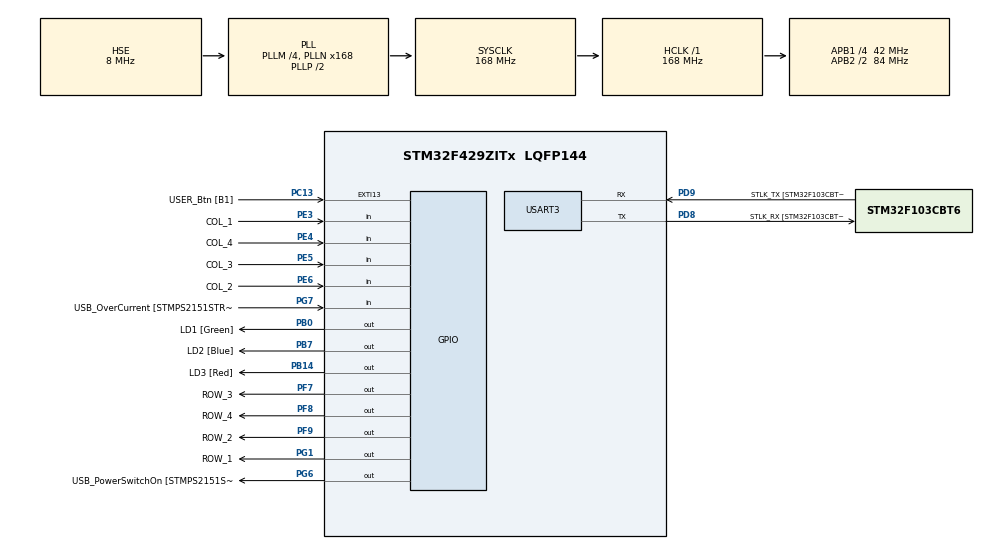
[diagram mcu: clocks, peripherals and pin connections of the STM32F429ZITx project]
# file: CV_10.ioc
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Mcu.Family=STM32F4
Mcu.Name=STM32F429ZITx
Mcu.Package=LQFP144
NVIC.PriorityGroup=NVIC_PRIORITYGROUP_4
NVIC.TIM3_IRQn=true\:0\:0\:false\:false\:true\:true\:true\:true
PA1.GPIO_Label=RMII_REF_CLK [LAN8742A-CZ-TR_REFCLK0]
PA1.Signal=ETH_REF_CLK
PA10.GPIO_Label=USB_ID
PA10.Signal=USB_OTG_FS_ID
PA11.GPIO_Label=USB_DM
PA11.Signal=USB_OTG_FS_DM
PA12.GPIO_Label=USB_DP
PA12.Signal=USB_OTG_FS_DP
PA13.GPIO_Label=TMS
PA13.Mode=Serial_Wire
PA13.Signal=SYS_JTMS-SWDIO
PA14.GPIO_Label=TCK
PA14.Mode=Serial_Wire
PA14.Signal=SYS_JTCK-SWCLK
PA2.GPIO_Label=RMII_MDIO [LAN8742A-CZ-TR_MDIO]
PA2.Signal=ETH_MDIO
PA7.GPIO_Label=RMII_CRS_DV [LAN8742A-CZ-TR_CRS_DV]
PA7.Signal=ETH_CRS_DV
PA8.GPIO_Label=USB_SOF [TP1]
PA8.Signal=USB_OTG_FS_SOF
PA9.GPIO_Label=USB_VBUS
PA9.Signal=USB_OTG_FS_VBUS
PB0.GPIO_Label=LD1 [Green]
PB0.Signal=GPIO_Output
PB13.GPIO_Label=RMII_TXD1 [LAN8742A-CZ-TR_TXD1]
PB13.Signal=ETH_TXD1
PB14.GPIO_Label=LD3 [Red]
PB14.Signal=GPIO_Output
PB7.GPIO_Label=LD2 [Blue]
PB7.Signal=GPIO_Output
PC1.GPIO_Label=RMII_MDC [LAN8742A-CZ-TR_MDC]
PC1.Signal=ETH_MDC
PC13.GPIO_Label=USER_Btn [B1]
PC13.Signal=GPXTI13
PC14/OSC32_IN.Mode=LSE-External-Oscillator
PC14/OSC32_IN.Signal=RCC_OSC32_IN
PC15/OSC32_OUT.Mode=LSE-External-Oscillator
PC15/OSC32_OUT.Signal=RCC_OSC32_OUT
PC4.GPIO_Label=RMII_RXD0 [LAN8742A-CZ-TR_RXD0]
PC4.Signal=ETH_RXD0
PC5.GPIO_Label=RMII_RXD1 [LAN8742A-CZ-TR_RXD1]
PC5.Signal=ETH_RXD1
PD8.GPIO_Label=STLK_RX [STM32F103CBT6_PA3]
PD8.Mode=Asynchronous
PD8.Signal=USART3_TX
PD9.GPIO_Label=STLK_TX [STM32F103CBT6_PA2]
PD9.Mode=Asynchronous
PD9.Signal=USART3_RX
PE3.GPIO_Label=COL_1
PE3.GPIO_PuPd=GPIO_PULLUP
PE3.Signal=GPIO_Input
PE4.GPIO_Label=COL_4
PE4.GPIO_PuPd=GPIO_PULLUP
PE4.Signal=GPIO_Input
PE5.GPIO_Label=COL_3
PE5.GPIO_PuPd=GPIO_PULLUP
PE5.Signal=GPIO_Input
PE6.GPIO_Label=COL_2
PE6.GPIO_PuPd=GPIO_PULLUP
PE6.Signal=GPIO_Input
PF7.GPIO_Label=ROW_3
PF7.GPIO_ModeDefaultOutputPP=GPIO_MODE_OUTPUT_OD
PF7.GPIO_PuPd=GPIO_NOPULL
PF7.Signal=GPIO_Output
PF8.GPIO_Label=ROW_4
PF8.GPIO_ModeDefaultOutputPP=GPIO_MODE_OUTPUT_OD
PF8.GPIO_PuPd=GPIO_NOPULL
PF8.Signal=GPIO_Output
PF9.GPIO_Label=ROW_2
PF9.GPIO_ModeDefaultOutputPP=GPIO_MODE_OUTPUT_OD
PF9.GPIO_PuPd=GPIO_NOPULL
PF9.Signal=GPIO_Output
PG1.GPIO_Label=ROW_1
PG1.GPIO_ModeDefaultOutputPP=GPIO_MODE_OUTPUT_OD
PG1.GPIO_PuPd=GPIO_NOPULL
PG1.Signal=GPIO_Output
PG11.GPIO_Label=RMII_TX_EN [LAN8742A-CZ-TR_TXEN]
PG11.Signal=ETH_TX_EN
PG13.GPIO_Label=RMII_TXD0 [LAN8742A-CZ-TR_TXD0]
PG13.Signal=ETH_TXD0
PG6.GPIO_Label=USB_PowerSwitchOn [STMPS2151STR_EN]
PG6.Signal=GPIO_Output
PG7.GPIO_Label=USB_OverCurrent [STMPS2151STR_FAULT]
PG7.Signal=GPIO_Input
PH0/OSC_IN.GPIO_Label=MCO [STM32F103CBT6_PA8]
PH0/OSC_IN.Mode=HSE-External-Clock-Source
PH0/OSC_IN.Signal=RCC_OSC_IN
PH1/OSC_OUT.Mode=HSE-External-Clock-Source
PH1/OSC_OUT.Signal=RCC_OSC_OUT
ProjectManager.HeapSize=0x200
ProjectManager.StackSize=0x400
ProjectManager.TargetToolchain=STM32CubeIDE
RCC.48MHZClocksFreq_Value=48000000
RCC.AHBFreq_Value=168000000
RCC.APB1CLKDivider=RCC_HCLK_DIV4
RCC.APB1Freq_Value=42000000
RCC.APB1TimFreq_Value=84000000
RCC.APB2CLKDivider=RCC_HCLK_DIV2
RCC.APB2Freq_Value=84000000
RCC.APB2TimCLKDivider=2
RCC.APB2TimFreq_Value=168000000
RCC.CortexFreq_Value=168000000
RCC.HCLKFreq_Value=168000000
RCC.HSE_VALUE=8000000
RCC.HSI_VALUE=16000000
RCC.PLLM=4
RCC.PLLMUL=RCC_PLL_MUL9
RCC.PLLN=168
RCC.PLLQ=7
RCC.PLLSourceVirtual=RCC_PLLSOURCE_HSE
RCC.PRESCALERUSB=RCC_USBCLKSOURCE_PLL_DIV1_5
RCC.SYSCLKFreq_VALUE=168000000
RCC.SYSCLKSource=RCC_SYSCLKSOURCE_PLLCLK
RCC.SYSCLKSourceVirtual=RCC_SYSCLKSOURCE_PLLCLK
RCC.USBFreq_Value=48000000
RCC.VCOOutputFreq_Value=336000000
TIM3.AutoReloadPreload=TIM_AUTORELOAD_PRELOAD_ENABLE
TIM3.Period=99
TIM3.Prescaler=8399
USART3.VirtualMode=VM_ASYNC
VP_TIM3_VS_ClockSourceINT.Mode=Internal
board=NUCLEO-F429ZI

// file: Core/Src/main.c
/* USER CODE BEGIN Header */
/**
  ******************************************************************************
  * @file           : main.c
  * @brief          : Main program body
  ******************************************************************************
  * @attention
  *
  * Copyright (c) 2022 STMicroelectronics.
  * All rights reserved.
  *
  * This software is licensed under terms that can be found in the LICENSE file
  * in the root directory of this software component.
  * If no LICENSE file comes with this software, it is provided AS-IS.
  *
  ******************************************************************************
  */
/* USER CODE END Header */
#include "main.h"

/* USER CODE BEGIN Includes */
#include <stdio.h>
/* USER CODE END Includes */

TIM_HandleTypeDef htim3;

UART_HandleTypeDef huart3;

/* USER CODE BEGIN PV */

static volatile int8_t key = - 1;
const int password[5] =  { 7, 9, 3, 2, 12 };

/* USER CODE END PV */

void SystemClock_Config(void);
static void MX_GPIO_Init(void);
static void MX_USART3_UART_Init(void);
static void MX_TIM3_Init(void);

/* USER CODE BEGIN 0 */
int __io_putchar(int ch)
{
	ITM_SendChar(ch);
	return 0;
}

void HAL_TIM_PeriodElapsedCallback(TIM_HandleTypeDef *htim)
{
	static int row = 0;
	static const int keyboard[4][4] = {
			{ 1, 2, 3, 21 },
			{ 4, 5, 6, 22 },
			{ 7, 8, 9, 23 },
			{ 11, 0, 12, 24 },
	};
	if (key == -1) {
		if (HAL_GPIO_ReadPin(COL_1_GPIO_Port, COL_1_Pin) == GPIO_PIN_RESET) key = keyboard[row][0];
		if (HAL_GPIO_ReadPin(COL_2_GPIO_Port, COL_2_Pin) == GPIO_PIN_RESET) key = keyboard[row][1];
		if (HAL_GPIO_ReadPin(COL_3_GPIO_Port, COL_3_Pin) == GPIO_PIN_RESET) key = keyboard[row][2];
		if (HAL_GPIO_ReadPin(COL_4_GPIO_Port, COL_4_Pin) == GPIO_PIN_RESET) key = keyboard[row][3];

	}
	HAL_GPIO_WritePin(ROW_1_GPIO_Port, ROW_1_Pin, GPIO_PIN_SET);
	HAL_GPIO_WritePin(ROW_2_GPIO_Port, ROW_2_Pin, GPIO_PIN_SET);
	HAL_GPIO_WritePin(ROW_3_GPIO_Port, ROW_3_Pin, GPIO_PIN_SET);
	HAL_GPIO_WritePin(ROW_4_GPIO_Port, ROW_4_Pin, GPIO_PIN_SET);

	switch (row) {
	case 0:
		row = 1;
		HAL_GPIO_WritePin(ROW_2_GPIO_Port, ROW_2_Pin, GPIO_PIN_RESET);
		break;
	case 1:
		row = 2;
		HAL_GPIO_WritePin(ROW_3_GPIO_Port, ROW_3_Pin, GPIO_PIN_RESET);
		break;
	case 2:
		row = 3;
		HAL_GPIO_WritePin(ROW_4_GPIO_Port, ROW_4_Pin, GPIO_PIN_RESET);
		break;
	case 3:
		row = 0;
		HAL_GPIO_WritePin(ROW_1_GPIO_Port, ROW_1_Pin, GPIO_PIN_RESET);
		break;
	}
}
/* USER CODE END 0 */

int main(void)
{

  /* MCU Configuration--------------------------------------------------------*/

  /* Reset of all peripherals, Initializes the Flash interface and the Systick. */
  HAL_Init();

  /* Configure the system clock */
  SystemClock_Config();

  /* Initialize all configured peripherals */
  MX_GPIO_Init();
  MX_USART3_UART_Init();
  MX_TIM3_Init();
  /* USER CODE BEGIN 2 */

  HAL_TIM_Base_Start_IT(&htim3);

  /* USER CODE END 2 */

  /* Infinite loop */
  while (1)
  {

    /* USER CODE BEGIN 3 */
	  static int16_t index = 0;
	  static int32_t timer = 0;
	  static int8_t correct = 0;

	  if (HAL_GetTick() > timer + 3000 && index > 0) {
		  index = 0;
		  correct = 0;
		  timer = HAL_GetTick();
		  printf("cas vyprsel\n");
	  }

	  if (key != -1){
		  timer = HAL_GetTick();

		  if (key == password[index]) {
			  correct++;
		  }

		  if (index < 5){
			  index++;
		  } else {
			  index = 0;
			  printf("vynulovano\n");
		  }

		  printf("stisktnuto: %d -> na indexu: %d \n", key, index);
		  HAL_Delay(200);
		  key = -1;

		  if (correct == 5 && index == 5){
			  printf("Correct\n");
			  HAL_GPIO_WritePin(LD1_GPIO_Port, LD1_Pin, GPIO_PIN_SET);
			  HAL_Delay(3000);
			  HAL_GPIO_WritePin(LD1_GPIO_Port, LD1_Pin, GPIO_PIN_RESET);
			  index = 0;
			  correct = 0;

		  } else if (correct != 5 && index == 5){
			  printf("Wrong\n");
			  for (int16_t i; i < 6; i++){
				  HAL_GPIO_TogglePin(LD1_GPIO_Port, LD1_Pin);
				  HAL_Delay(200);
			  }
			  index = 0;
			  correct = 0;

		  }
	  }

  }
  /* USER CODE END 3 */
}

void SystemClock_Config(void)
{
  RCC_OscInitTypeDef RCC_OscInitStruct = {0};
  RCC_ClkInitTypeDef RCC_ClkInitStruct = {0};

  /** Configure the main internal regulator output voltage
  */
  __HAL_RCC_PWR_CLK_ENABLE();
  __HAL_PWR_VOLTAGESCALING_CONFIG(PWR_REGULATOR_VOLTAGE_SCALE1);

  /** Initializes the RCC Oscillators according to the specified parameters
  * in the RCC_OscInitTypeDef structure.
  */
  RCC_OscInitStruct.OscillatorType = RCC_OSCILLATORTYPE_HSE;
  RCC_OscInitStruct.HSEState = RCC_HSE_BYPASS;
  RCC_OscInitStruct.PLL.PLLState = RCC_PLL_ON;
  RCC_OscInitStruct.PLL.PLLSource = RCC_PLLSOURCE_HSE;
  RCC_OscInitStruct.PLL.PLLM = 4;
  RCC_OscInitStruct.PLL.PLLN = 168;
  RCC_OscInitStruct.PLL.PLLP = RCC_PLLP_DIV2;
  RCC_OscInitStruct.PLL.PLLQ = 7;
  if (HAL_RCC_OscConfig(&RCC_OscInitStruct) != HAL_OK)
  {
    Error_Handler();
  }

  /** Initializes the CPU, AHB and APB buses clocks
  */
  RCC_ClkInitStruct.ClockType = RCC_CLOCKTYPE_HCLK|RCC_CLOCKTYPE_SYSCLK
                              |RCC_CLOCKTYPE_PCLK1|RCC_CLOCKTYPE_PCLK2;
  RCC_ClkInitStruct.SYSCLKSource = RCC_SYSCLKSOURCE_PLLCLK;
  RCC_ClkInitStruct.AHBCLKDivider = RCC_SYSCLK_DIV1;
  RCC_ClkInitStruct.APB1CLKDivider = RCC_HCLK_DIV4;
  RCC_ClkInitStruct.APB2CLKDivider = RCC_HCLK_DIV2;

  if (HAL_RCC_ClockConfig(&RCC_ClkInitStruct, FLASH_LATENCY_5) != HAL_OK)
  {
    Error_Handler();
  }
}

static void MX_TIM3_Init(void)
{

  TIM_ClockConfigTypeDef sClockSourceConfig = {0};
  TIM_MasterConfigTypeDef sMasterConfig = {0};

  htim3.Instance = TIM3;
  htim3.Init.Prescaler = 8399;
  htim3.Init.CounterMode = TIM_COUNTERMODE_UP;
  htim3.Init.Period = 99;
  htim3.Init.ClockDivision = TIM_CLOCKDIVISION_DIV1;
  htim3.Init.AutoReloadPreload = TIM_AUTORELOAD_PRELOAD_ENABLE;
  if (HAL_TIM_Base_Init(&htim3) != HAL_OK)
  {
    Error_Handler();
  }
  sClockSourceConfig.ClockSource = TIM_CLOCKSOURCE_INTERNAL;
  if (HAL_TIM_ConfigClockSource(&htim3, &sClockSourceConfig) != HAL_OK)
  {
    Error_Handler();
  }
  sMasterConfig.MasterOutputTrigger = TIM_TRGO_RESET;
  sMasterConfig.MasterSlaveMode = TIM_MASTERSLAVEMODE_DISABLE;
  if (HAL_TIMEx_MasterConfigSynchronization(&htim3, &sMasterConfig) != HAL_OK)
  {
    Error_Handler();
  }

}

static void MX_USART3_UART_Init(void)
{

  huart3.Instance = USART3;
  huart3.Init.BaudRate = 115200;
  huart3.Init.WordLength = UART_WORDLENGTH_8B;
  huart3.Init.StopBits = UART_STOPBITS_1;
  huart3.Init.Parity = UART_PARITY_NONE;
  huart3.Init.Mode = UART_MODE_TX_RX;
  huart3.Init.HwFlowCtl = UART_HWCONTROL_NONE;
  huart3.Init.OverSampling = UART_OVERSAMPLING_16;
  if (HAL_UART_Init(&huart3) != HAL_OK)
  {
    Error_Handler();
  }

}

static void MX_GPIO_Init(void)
{
  GPIO_InitTypeDef GPIO_InitStruct = {0};

  /* GPIO Ports Clock Enable */
  __HAL_RCC_GPIOE_CLK_ENABLE();
  __HAL_RCC_GPIOC_CLK_ENABLE();
  __HAL_RCC_GPIOF_CLK_ENABLE();
  __HAL_RCC_GPIOH_CLK_ENABLE();
  __HAL_RCC_GPIOA_CLK_ENABLE();
  __HAL_RCC_GPIOB_CLK_ENABLE();
  __HAL_RCC_GPIOG_CLK_ENABLE();
  __HAL_RCC_GPIOD_CLK_ENABLE();

  /*Configure GPIO pin Output Level */
  HAL_GPIO_WritePin(GPIOF, ROW_3_Pin|ROW_4_Pin|ROW_2_Pin, GPIO_PIN_RESET);

  /*Configure GPIO pin Output Level */
  HAL_GPIO_WritePin(GPIOB, LD1_Pin|LD3_Pin|LD2_Pin, GPIO_PIN_RESET);

  /*Configure GPIO pin Output Level */
  HAL_GPIO_WritePin(GPIOG, ROW_1_Pin|USB_PowerSwitchOn_Pin, GPIO_PIN_RESET);

  /*Configure GPIO pins : COL_1_Pin COL_4_Pin COL_3_Pin COL_2_Pin */
  GPIO_InitStruct.Pin = COL_1_Pin|COL_4_Pin|COL_3_Pin|COL_2_Pin;
  GPIO_InitStruct.Mode = GPIO_MODE_INPUT;
  GPIO_InitStruct.Pull = GPIO_PULLUP;
  HAL_GPIO_Init(GPIOE, &GPIO_InitStruct);

  /*Configure GPIO pin : USER_Btn_Pin */
  GPIO_InitStruct.Pin = USER_Btn_Pin;
  GPIO_InitStruct.Mode = GPIO_MODE_IT_RISING;
  GPIO_InitStruct.Pull = GPIO_NOPULL;
  HAL_GPIO_Init(USER_Btn_GPIO_Port, &GPIO_InitStruct);

  /*Configure GPIO pins : ROW_3_Pin ROW_4_Pin ROW_2_Pin */
  GPIO_InitStruct.Pin = ROW_3_Pin|ROW_4_Pin|ROW_2_Pin;
  GPIO_InitStruct.Mode = GPIO_MODE_OUTPUT_OD;
  GPIO_InitStruct.Pull = GPIO_NOPULL;
  GPIO_InitStruct.Speed = GPIO_SPEED_FREQ_LOW;
  HAL_GPIO_Init(GPIOF, &GPIO_InitStruct);

  /*Configure GPIO pins : RMII_MDC_Pin RMII_RXD0_Pin RMII_RXD1_Pin */
  GPIO_InitStruct.Pin = RMII_MDC_Pin|RMII_RXD0_Pin|RMII_RXD1_Pin;
  GPIO_InitStruct.Mode = GPIO_MODE_AF_PP;
  GPIO_InitStruct.Pull = GPIO_NOPULL;
  GPIO_InitStruct.Speed = GPIO_SPEED_FREQ_VERY_HIGH;
  GPIO_InitStruct.Alternate = GPIO_AF11_ETH;
  HAL_GPIO_Init(GPIOC, &GPIO_InitStruct);

  /*Configure GPIO pins : RMII_REF_CLK_Pin RMII_MDIO_Pin RMII_CRS_DV_Pin */
  GPIO_InitStruct.Pin = RMII_REF_CLK_Pin|RMII_MDIO_Pin|RMII_CRS_DV_Pin;
  GPIO_InitStruct.Mode = GPIO_MODE_AF_PP;
  GPIO_InitStruct.Pull = GPIO_NOPULL;
  GPIO_InitStruct.Speed = GPIO_SPEED_FREQ_VERY_HIGH;
  GPIO_InitStruct.Alternate = GPIO_AF11_ETH;
  HAL_GPIO_Init(GPIOA, &GPIO_InitStruct);

  /*Configure GPIO pins : LD1_Pin LD3_Pin LD2_Pin */
  GPIO_InitStruct.Pin = LD1_Pin|LD3_Pin|LD2_Pin;
  GPIO_InitStruct.Mode = GPIO_MODE_OUTPUT_PP;
  GPIO_InitStruct.Pull = GPIO_NOPULL;
  GPIO_InitStruct.Speed = GPIO_SPEED_FREQ_LOW;
  HAL_GPIO_Init(GPIOB, &GPIO_InitStruct);

  /*Configure GPIO pin : ROW_1_Pin */
  GPIO_InitStruct.Pin = ROW_1_Pin;
  GPIO_InitStruct.Mode = GPIO_MODE_OUTPUT_OD;
  GPIO_InitStruct.Pull = GPIO_NOPULL;
  GPIO_InitStruct.Speed = GPIO_SPEED_FREQ_LOW;
  HAL_GPIO_Init(ROW_1_GPIO_Port, &GPIO_InitStruct);

  /*Configure GPIO pin : RMII_TXD1_Pin */
  GPIO_InitStruct.Pin = RMII_TXD1_Pin;
  GPIO_InitStruct.Mode = GPIO_MODE_AF_PP;
  GPIO_InitStruct.Pull = GPIO_NOPULL;
  GPIO_InitStruct.Speed = GPIO_SPEED_FREQ_VERY_HIGH;
  GPIO_InitStruct.Alternate = GPIO_AF11_ETH;
  HAL_GPIO_Init(RMII_TXD1_GPIO_Port, &GPIO_InitStruct);

  /*Configure GPIO pin : USB_PowerSwitchOn_Pin */
  GPIO_InitStruct.Pin = USB_PowerSwitchOn_Pin;
  GPIO_InitStruct.Mode = GPIO_MODE_OUTPUT_PP;
  GPIO_InitStruct.Pull = GPIO_NOPULL;
  GPIO_InitStruct.Speed = GPIO_SPEED_FREQ_LOW;
  HAL_GPIO_Init(USB_PowerSwitchOn_GPIO_Port, &GPIO_InitStruct);

  /*Configure GPIO pin : USB_OverCurrent_Pin */
  GPIO_InitStruct.Pin = USB_OverCurrent_Pin;
  GPIO_InitStruct.Mode = GPIO_MODE_INPUT;
  GPIO_InitStruct.Pull = GPIO_NOPULL;
  HAL_GPIO_Init(USB_OverCurrent_GPIO_Port, &GPIO_InitStruct);

  /*Configure GPIO pins : USB_SOF_Pin USB_ID_Pin USB_DM_Pin USB_DP_Pin */
  GPIO_InitStruct.Pin = USB_SOF_Pin|USB_ID_Pin|USB_DM_Pin|USB_DP_Pin;
  GPIO_InitStruct.Mode = GPIO_MODE_AF_PP;
  GPIO_InitStruct.Pull = GPIO_NOPULL;
  GPIO_InitStruct.Speed = GPIO_SPEED_FREQ_VERY_HIGH;
  GPIO_InitStruct.Alternate = GPIO_AF10_OTG_FS;
  HAL_GPIO_Init(GPIOA, &GPIO_InitStruct);

  /*Configure GPIO pin : USB_VBUS_Pin */
  GPIO_InitStruct.Pin = USB_VBUS_Pin;
  GPIO_InitStruct.Mode = GPIO_MODE_INPUT;
  GPIO_InitStruct.Pull = GPIO_NOPULL;
  HAL_GPIO_Init(USB_VBUS_GPIO_Port, &GPIO_InitStruct);

  /*Configure GPIO pins : RMII_TX_EN_Pin RMII_TXD0_Pin */
  GPIO_InitStruct.Pin = RMII_TX_EN_Pin|RMII_TXD0_Pin;
  GPIO_InitStruct.Mode = GPIO_MODE_AF_PP;
  GPIO_InitStruct.Pull = GPIO_NOPULL;
  GPIO_InitStruct.Speed = GPIO_SPEED_FREQ_VERY_HIGH;
  GPIO_InitStruct.Alternate = GPIO_AF11_ETH;
  HAL_GPIO_Init(GPIOG, &GPIO_InitStruct);

}

void Error_Handler(void)
{
  __disable_irq();
  while (1)
  {
  }
}
